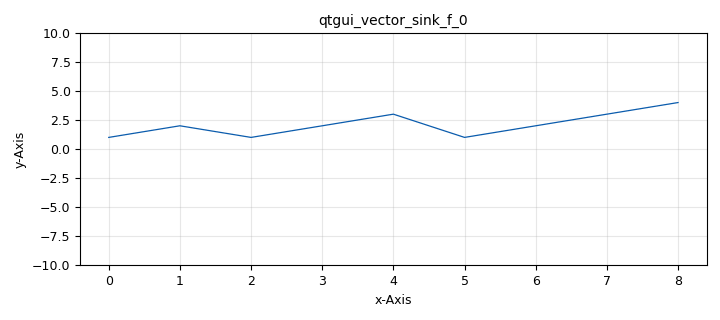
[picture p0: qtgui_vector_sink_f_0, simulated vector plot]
<?xml version='1.0' encoding='utf-8'?>
<?grc format='1' created='3.7.13'?>
<flow_graph>
<block>
<key>options</key>
<param><key>id</key><value>top_block</value></param>
<param><key>generate_options</key><value>qt_gui</value></param>
</block>
<block>
<key>variable</key>
<param><key>id</key><value>samp_rate</value></param>
<param><key>value</key><value>32000</value></param>
</block>
<block>
<key>barchart_vector_sink_f</key>
<param><key>id</key><value>barchart_vector_sink_f_0</value></param>
<param><key>autoscale</key><value>False</value></param>
<param><key>average</key><value>1.0</value></param>
<param><key>grid</key><value>False</value></param>
<param><key>alpha1</key><value>1.0</value></param>
<param><key>color1</key><value>"dark red"</value></param>
<param><key>label1</key><value>Vector</value></param>
<param><key>width1</key><value>1</value></param>
<param><key>name</key><value>""</value></param>
<param><key>nconnections</key><value>1</value></param>
<param><key>ref_level</key><value>3</value></param>
<param><key>showports</key><value>True</value></param>
<param><key>update_time</key><value>0.10</value></param>
<param><key>vlen</key><value>9</value></param>
<param><key>x_axis_label</key><value>"x-Axis"</value></param>
<param><key>x_start</key><value>0</value></param>
<param><key>x_step</key><value>1</value></param>
<param><key>x_units</key><value>""</value></param>
<param><key>ymax</key><value>5</value></param>
<param><key>ymin</key><value>0</value></param>
<param><key>y_axis_label</key><value>"y-Axis"</value></param>
<param><key>y_units</key><value>""</value></param>
</block>
<block>
<key>blocks_vector_source_x</key>
<param><key>id</key><value>blocks_vector_source_x_0</value></param>
<param><key>type</key><value>float</value></param>
<param><key>repeat</key><value>True</value></param>
<param><key>vlen</key><value>9</value></param>
<param><key>vector</key><value>(1, 2, 1, 2, 3, 1, 2, 3, 4)</value></param>
</block>
<block>
<key>qtgui_vector_sink_f</key>
<param><key>id</key><value>qtgui_vector_sink_f_0</value></param>
<param><key>showports</key><value>True</value></param>
<param><key>vlen</key><value>9</value></param>
<param><key>x_start</key><value>0</value></param>
<param><key>x_step</key><value>1.0</value></param>
<param><key>ymin</key><value>-10</value></param>
</block>
<connection><source_block_id>blocks_vector_source_x_0</source_block_id><sink_block_id>barchart_vector_sink_f_0</sink_block_id><source_key>0</source_key><sink_key>0</sink_key></connection>
<connection><source_block_id>blocks_vector_source_x_0</source_block_id><sink_block_id>qtgui_vector_sink_f_0</sink_block_id><source_key>0</source_key><sink_key>0</sink_key></connection>
</flow_graph>
